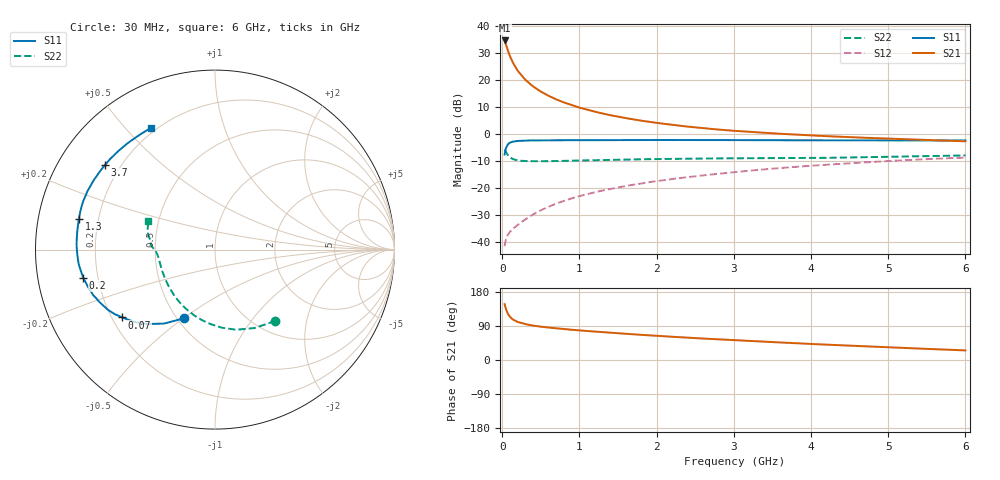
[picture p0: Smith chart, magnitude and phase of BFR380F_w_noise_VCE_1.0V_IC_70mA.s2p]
! Infineon Technologies  Discrete & RF Semiconductors
! BFR380F
! VCE =  1.0 V,  IC =  70 mA
! Common Emitter S-Parameters:  Nov 2015
# GHz  S  MA  R  50
!  f  S11  S21  S12  S22
! GHz  MAG  ANG  MAG  ANG  MAG  ANG  MAG  ANG
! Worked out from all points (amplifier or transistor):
!   206 points, 30 MHz to 6 GHz, reference 50 ohm
!   highest |S21| = 34.8 dB at 30 MHz (marker M1)
!   |S21| within 3 dB of that: start of sweep to 63.57 MHz
!   unconditionally stable (mu >= 1): 348.3 MHz to end of sweep
!   at 200 MHz: K = 0.85, MSG = 28.6 dB, |S12| = -33.6 dB
!   at 1.56 GHz: K = 1.15, MAG = 10.5 dB, |S12| = -19.4 dB
!   at 6 GHz: K = 1.06, MAG = 1.6 dB, |S12| = -8.7 dB
!   lowest NFmin = 1.81 dB at 900 MHz
!   S11 on the Smith chart (normalised r, x): 30 MHz: 0.54, -0.50; 70 MHz: 0.24, -0.31; 200 MHz: 0.14, -0.10; 1.3 GHz: 0.13, +0.11; 3.7 GHz: 0.14, +0.33; 6 GHz: 0.18, +0.59
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0.03  0.4183 -114.0  54.81 147.5  0.0084 65.4  0.5207 -49.8
0.04  0.5008 -124.6  49.61 139.5  0.0101 60.5  0.4893 -63.3
0.05  0.5631 -132.6  44.72 132.7  0.0115 56.3  0.4622 -75.1
0.06  0.6072 -138.7  40.2 127.6  0.0126 54.1  0.4372 -84.8
0.07  0.6403 -143.8  36.38 122.8  0.0135 52.3  0.416 -93.3
0.08  0.666 -147.5  33.1 119.4  0.0142 50.9  0.3995 -100.5
0.09  0.6837 -150.5  30.26 116.5  0.0149 49.9  0.3856 -106.9
0.1  0.6969 -153.5  27.84 113.9  0.0155 50.0  0.3745 -112.3
0.12  0.716 -157.9  23.92 109.8  0.0166 50.2  0.3579 -121.4
0.15  0.7342 -162.6  19.64 105.3  0.0182 51.3  0.3422 -131.5
0.2  0.751 -167.9  15.01 100.3  0.0208 54.6  0.3284 -142.7
0.3  0.7635 -173.8  10.18 94.5  0.0265 60.2  0.3183 -155.3
0.45  0.7685 -178.9  6.842 89.3  0.0358 65.6  0.3156 -164.6
0.7  0.7728 175.8  4.421 83.5  0.0517 69.8  0.3184 -171.8
1.04  0.775 170.6  3.004 77.5  0.0738 71.6  0.3253 -176.6
1.3  0.7775 167.2  2.42 73.4  0.0905 71.8  0.3313 -178.7
2.02  0.7815 159.2  1.609 63.7  0.1363 70.2  0.3462 178.3
3.1  0.777 148.8  1.133 51.4  0.2043 65.7  0.3581 175.2
3.7  0.773 142.5  1.002 45.3  0.2421 62.5  0.3604 173.5
4.1  0.7712 138.3  0.935 41.4  0.2662 60.1  0.3634 172.0
5.1  0.7661 128.3  0.82 32.8  0.3238 54.1  0.3842 166.3
6  0.7668 117.9  0.739 25.3  0.3686 47.7  0.4043 156.6
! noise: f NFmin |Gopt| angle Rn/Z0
0.45  1.82  0.48  -174  0.08
0.9  1.81  0.5  -171  0.08
1.8  2.07  0.53  -159  0.11
1.9  2.18  0.54  -159  0.11
2.4  2.25  0.55  -150  0.15
3.5  2.95  0.58  -140  0.28
